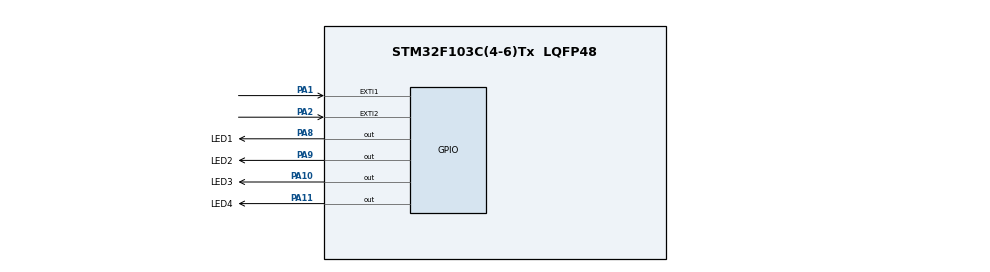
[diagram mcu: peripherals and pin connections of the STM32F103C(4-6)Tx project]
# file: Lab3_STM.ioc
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Mcu.Family=STM32F1
PA9.GPIO_Label=LED2
PA11.GPIO_Label=LED4
VP_SYS_VS_ND.Mode=No_Debug
ProjectManager.StackSize=0x400
NVIC.EXTI1_IRQn=true\:0\:0\:false\:false\:true\:true\:true
PA8.GPIO_Label=LED1
ProjectManager.TargetToolchain=STM32CubeIDE
PA9.Signal=GPIO_Output
PA1.Signal=GPXTI1
board=custom
RCC.APB2Freq_Value=8000000
PA10.GPIO_Label=LED3
PA8.Signal=GPIO_Output
Mcu.Name=STM32F103C(4-6)Tx
PA2.Signal=GPXTI2
Mcu.Package=LQFP48
PA11.Signal=GPIO_Output
PA10.Signal=GPIO_Output
ProjectManager.HeapSize=0x200
NVIC.PriorityGroup=NVIC_PRIORITYGROUP_4
NVIC.EXTI2_IRQn=true\:0\:0\:false\:false\:true\:true\:true
RCC.APB1Freq_Value=8000000

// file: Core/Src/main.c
/* USER CODE BEGIN Header */
/**
 ******************************************************************************
 * @file           : main.c
 * @brief          : Main program body
 ******************************************************************************
 * @attention
 *
 * <h2><center>&copy; Copyright (c) 2022 STMicroelectronics.
 * All rights reserved.</center></h2>
 *
 * This software component is licensed by ST under BSD 3-Clause license,
 * the "License"; You may not use this file except in compliance with the
 * License. You may obtain a copy of the License at:
 *                        opensource.org/licenses/BSD-3-Clause
 *
 ******************************************************************************
 */
/* USER CODE END Header */
#include "main.h"

/* USER CODE BEGIN PV */
int state = 0;
/* USER CODE END PV */

void SystemClock_Config(void);
static void MX_GPIO_Init(void);

int main(void)
{

	/* MCU Configuration--------------------------------------------------------*/

	/* Reset of all peripherals, Initializes the Flash interface and the Systick. */
	HAL_Init();

	/* Configure the system clock */
	SystemClock_Config();

	/* Initialize all configured peripherals */
	MX_GPIO_Init();

	/* Infinite loop */
	/* USER CODE BEGIN WHILE */
	while (1)
	{
		if (state == 0)
		{
			HAL_GPIO_WritePin(LED1_GPIO_Port, LED1_Pin, GPIO_PIN_RESET);
			HAL_GPIO_WritePin(LED2_GPIO_Port, LED2_Pin, GPIO_PIN_RESET);
			HAL_GPIO_WritePin(LED3_GPIO_Port, LED3_Pin, GPIO_PIN_RESET);
			HAL_GPIO_WritePin(LED4_GPIO_Port, LED4_Pin, GPIO_PIN_RESET);
		}
		if (state == 1)
		{
			HAL_GPIO_WritePin(LED1_GPIO_Port, LED1_Pin, GPIO_PIN_SET);
			HAL_GPIO_WritePin(LED2_GPIO_Port, LED2_Pin, GPIO_PIN_RESET);
			HAL_GPIO_WritePin(LED3_GPIO_Port, LED3_Pin, GPIO_PIN_RESET);
			HAL_GPIO_WritePin(LED4_GPIO_Port, LED4_Pin, GPIO_PIN_RESET);
		}
		if (state == 2)
		{
			HAL_GPIO_WritePin(LED1_GPIO_Port, LED1_Pin, GPIO_PIN_SET);
			HAL_GPIO_WritePin(LED2_GPIO_Port, LED2_Pin, GPIO_PIN_SET);
			HAL_GPIO_WritePin(LED3_GPIO_Port, LED3_Pin, GPIO_PIN_RESET);
			HAL_GPIO_WritePin(LED4_GPIO_Port, LED4_Pin, GPIO_PIN_RESET);
		}
		if (state == 3)
		{
			HAL_GPIO_WritePin(LED1_GPIO_Port, LED1_Pin, GPIO_PIN_SET);
			HAL_GPIO_WritePin(LED2_GPIO_Port, LED2_Pin, GPIO_PIN_SET);
			HAL_GPIO_WritePin(LED3_GPIO_Port, LED3_Pin, GPIO_PIN_SET);
			HAL_GPIO_WritePin(LED4_GPIO_Port, LED4_Pin, GPIO_PIN_RESET);
		}
		if (state == 4)
		{
			HAL_GPIO_WritePin(LED1_GPIO_Port, LED1_Pin, GPIO_PIN_SET);
			HAL_GPIO_WritePin(LED2_GPIO_Port, LED2_Pin, GPIO_PIN_SET);
			HAL_GPIO_WritePin(LED3_GPIO_Port, LED3_Pin, GPIO_PIN_SET);
			HAL_GPIO_WritePin(LED4_GPIO_Port, LED4_Pin, GPIO_PIN_SET);
		}
		/* USER CODE END WHILE */

	}
}

void SystemClock_Config(void)
{
	RCC_OscInitTypeDef RCC_OscInitStruct =
	{ 0 };
	RCC_ClkInitTypeDef RCC_ClkInitStruct =
	{ 0 };

	/** Initializes the RCC Oscillators according to the specified parameters
	 * in the RCC_OscInitTypeDef structure.
	 */
	RCC_OscInitStruct.OscillatorType = RCC_OSCILLATORTYPE_HSI;
	RCC_OscInitStruct.HSIState = RCC_HSI_ON;
	RCC_OscInitStruct.HSICalibrationValue = RCC_HSICALIBRATION_DEFAULT;
	RCC_OscInitStruct.PLL.PLLState = RCC_PLL_NONE;
	if (HAL_RCC_OscConfig(&RCC_OscInitStruct) != HAL_OK)
	{
		Error_Handler();
	}
	/** Initializes the CPU, AHB and APB buses clocks
	 */
	RCC_ClkInitStruct.ClockType = RCC_CLOCKTYPE_HCLK | RCC_CLOCKTYPE_SYSCLK
			| RCC_CLOCKTYPE_PCLK1 | RCC_CLOCKTYPE_PCLK2;
	RCC_ClkInitStruct.SYSCLKSource = RCC_SYSCLKSOURCE_HSI;
	RCC_ClkInitStruct.AHBCLKDivider = RCC_SYSCLK_DIV1;
	RCC_ClkInitStruct.APB1CLKDivider = RCC_HCLK_DIV1;
	RCC_ClkInitStruct.APB2CLKDivider = RCC_HCLK_DIV1;

	if (HAL_RCC_ClockConfig(&RCC_ClkInitStruct, FLASH_LATENCY_0) != HAL_OK)
	{
		Error_Handler();
	}
}

static void MX_GPIO_Init(void)
{
	GPIO_InitTypeDef GPIO_InitStruct =
	{ 0 };

	/* GPIO Ports Clock Enable */
	__HAL_RCC_GPIOA_CLK_ENABLE();

	/*Configure GPIO pin Output Level */
	HAL_GPIO_WritePin(GPIOA, LED1_Pin | LED2_Pin | LED3_Pin | LED4_Pin,
			GPIO_PIN_RESET);

	/*Configure GPIO pins : PA1 PA2 */
	GPIO_InitStruct.Pin = GPIO_PIN_1 | GPIO_PIN_2;
	GPIO_InitStruct.Mode = GPIO_MODE_IT_RISING;
	GPIO_InitStruct.Pull = GPIO_NOPULL;
	HAL_GPIO_Init(GPIOA, &GPIO_InitStruct);

	/*Configure GPIO pins : LED1_Pin LED2_Pin LED3_Pin LED4_Pin */
	GPIO_InitStruct.Pin = LED1_Pin | LED2_Pin | LED3_Pin | LED4_Pin;
	GPIO_InitStruct.Mode = GPIO_MODE_OUTPUT_PP;
	GPIO_InitStruct.Pull = GPIO_NOPULL;
	GPIO_InitStruct.Speed = GPIO_SPEED_FREQ_LOW;
	HAL_GPIO_Init(GPIOA, &GPIO_InitStruct);

	/* EXTI interrupt init*/
	HAL_NVIC_SetPriority(EXTI1_IRQn, 0, 0);
	HAL_NVIC_EnableIRQ(EXTI1_IRQn);

	HAL_NVIC_SetPriority(EXTI2_IRQn, 0, 0);
	HAL_NVIC_EnableIRQ(EXTI2_IRQn);

}

/* USER CODE BEGIN 4 */

void HAL_GPIO_EXTI_Callback(uint16_t GPIO_Pin)
{
	if (GPIO_Pin == GPIO_PIN_1)
	{
		state++;
	}
	if (GPIO_Pin == GPIO_PIN_2)
	{
		state--;
	}
	if (state < 0)
		state = 0;
	if (state > 4)
		state = 4;
}
/* USER CODE END 4 */

void Error_Handler(void)
{
	__disable_irq();
	while (1)
	{
	}
}

/************************ (C) COPYRIGHT STMicroelectronics *****END OF FILE****/
